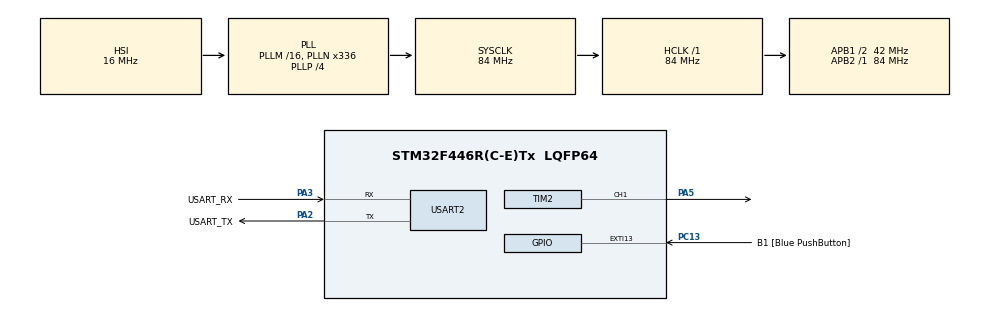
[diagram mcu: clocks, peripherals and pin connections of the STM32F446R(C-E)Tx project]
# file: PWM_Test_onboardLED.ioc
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Mcu.Family=STM32F4
Mcu.Name=STM32F446R(C-E)Tx
Mcu.Package=LQFP64
NVIC.PriorityGroup=NVIC_PRIORITYGROUP_0
NVIC.TIM2_IRQn=true\:0\:0\:false\:false\:true\:true\:true
NVIC.USART2_IRQn=true\:0\:0\:false\:false\:true\:true\:true
PA13.GPIO_Label=TMS
PA13.Mode=Serial_Wire
PA13.Signal=SYS_JTMS-SWDIO
PA14.GPIO_Label=TCK
PA14.Mode=Serial_Wire
PA14.Signal=SYS_JTCK-SWCLK
PA2.GPIO_Label=USART_TX
PA2.Mode=Asynchronous
PA2.Signal=USART2_TX
PA3.GPIO_Label=USART_RX
PA3.Mode=Asynchronous
PA3.Signal=USART2_RX
PA5.Signal=S_TIM2_CH1_ETR
PB3.GPIO_Label=SWO
PB3.Signal=SYS_JTDO-SWO
PC13.GPIO_Label=B1 [Blue PushButton]
PC13.GPIO_ModeDefaultEXTI=GPIO_MODE_IT_FALLING
PC13.Signal=GPXTI13
PC14-OSC32_IN.Signal=RCC_OSC32_IN
PC15-OSC32_OUT.Signal=RCC_OSC32_OUT
PH0-OSC_IN.Signal=RCC_OSC_IN
PH1-OSC_OUT.Signal=RCC_OSC_OUT
ProjectManager.HeapSize=0x200
ProjectManager.StackSize=0x400
ProjectManager.TargetToolchain=STM32CubeIDE
RCC.48MHZClocksFreq_Value=84000000
RCC.AHBFreq_Value=84000000
RCC.APB1CLKDivider=RCC_HCLK_DIV2
RCC.APB1Freq_Value=42000000
RCC.APB1TimFreq_Value=84000000
RCC.APB2Freq_Value=84000000
RCC.APB2TimFreq_Value=84000000
RCC.CortexFreq_Value=84000000
RCC.FLatency-AdvancedSettings=FLASH_LATENCY_2
RCC.HCLKFreq_Value=84000000
RCC.HSE_VALUE=8000000
RCC.HSI_VALUE=16000000
RCC.PLLN=336
RCC.PLLP=RCC_PLLP_DIV4
RCC.SYSCLKFreq_VALUE=84000000
RCC.SYSCLKSource=RCC_SYSCLKSOURCE_PLLCLK
RCC.USBFreq_Value=168000000
RCC.VCOOutputFreq_Value=336000000
SH.S_TIM2_CH1_ETR.0=TIM2_CH1,PWM Generation1 CH1
TIM2.Channel-PWM\ Generation1\ CH1=TIM_CHANNEL_1
TIM2.Period=999
TIM2.Prescaler=83
TIM2.Pulse-PWM\ Generation1\ CH1=100
USART2.VirtualMode=VM_ASYNC
VP_TIM2_VS_ClockSourceINT.Mode=Internal
board=NUCLEO-F446RE

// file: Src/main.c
/* USER CODE BEGIN Header */
/**
  ******************************************************************************
  * @file           : main.c
  * @brief          : Main program body
  ******************************************************************************
  * @attention
  *
  * <h2><center>&copy; Copyright (c) 2020 STMicroelectronics.
  * All rights reserved.</center></h2>
  *
  * This software component is licensed by ST under BSD 3-Clause license,
  * the "License"; You may not use this file except in compliance with the
  * License. You may obtain a copy of the License at:
  *                        opensource.org/licenses/BSD-3-Clause
  *
  ******************************************************************************
  */
/* USER CODE END Header */

#include "main.h"
#include "tim.h"
#include "usart.h"
#include "gpio.h"
#include <stdbool.h>

void SystemClock_Config(void);

/* USER CODE BEGIN 0 */
uint8_t myTxData[13]= "LED DIMMING\r\n";
uint8_t myRxData[11];
uint8_t serialFlag;
/* USER CODE END 0 */

int main(void)
{
  /* USER CODE BEGIN 1 */
	uint8_t mode=1;
	uint32_t ledpwmval=0;
	bool flag=true;
  /* USER CODE END 1 */

  /* MCU Configuration--------------------------------------------------------*/

  /* Reset of all peripherals, Initializes the Flash interface and the Systick. */
  HAL_Init();

  /* Configure the system clock */
  SystemClock_Config();

  /* Initialize all configured peripherals */
  MX_GPIO_Init();
  MX_TIM2_Init();
  MX_USART2_UART_Init();
  MX_DMA_Init();
  /* USER CODE BEGIN 2 */
  HAL_TIM_PWM_Start(&htim2,TIM_CHANNEL_1);
  HAL_UART_Receive_IT(&huart2, myRxData, 11);
  /* USER CODE END 2 */

  /* Infinite loop */
  /* USER CODE BEGIN WHILE */
  while (1)
     {

	  if (serialFlag)
	  {
		  serialFlag = 0;
		  HAL_UART_Transmit(&huart2, myTxData, 13, 10);
		  HAL_UART_Receive_IT(&huart2, myRxData, 11);
	  }
	  //HAL_UART_Transmit(&huart2, myTxData, 13, 10);
       /* USER CODE END WHILE */
	  if(HAL_GPIO_ReadPin(GPIOC, GPIO_PIN_13)==GPIO_PIN_SET && flag)
	  {
		  flag=false;
		 // State=HAL_GPIO_ReadPin(GPIOA,GPIO_PIN_5);
		  if (mode==1)
		    		  ledpwmval=ledpwmval+50;
		  else
		    		  ledpwmval=ledpwmval-50;
	  }else if(HAL_GPIO_ReadPin(GPIOC, GPIO_PIN_13)==GPIO_PIN_RESET)
	  {
		 // State=HAL_GPIO_ReadPin(GPIOA,GPIO_PIN_5);
		  flag=true;
	  }
   	 /* if (mode)
   		  ledpwmval ++;
   	  else
   		  ledpwmval --;*/

   	  if (ledpwmval >=1000)
   		  mode=0;//led value get cleared and work at the OFF mode
   	  if (ledpwmval==0)
   		  mode=1;//
   	//  _HAL_TIM_COMPARE(&htim2,TIM_CHANNEL_1,ledpwmval);

   	  TIM2->CCR1 = ledpwmval;
   	  HAL_Delay(10);

     }

  /* USER CODE END 3 */
}

void SystemClock_Config(void)
{
  RCC_OscInitTypeDef RCC_OscInitStruct = {0};
  RCC_ClkInitTypeDef RCC_ClkInitStruct = {0};

  /** Configure the main internal regulator output voltage
  */
  __HAL_RCC_PWR_CLK_ENABLE();
  __HAL_PWR_VOLTAGESCALING_CONFIG(PWR_REGULATOR_VOLTAGE_SCALE3);
  /** Initializes the CPU, AHB and APB busses clocks
  */
  RCC_OscInitStruct.OscillatorType = RCC_OSCILLATORTYPE_HSI;
  RCC_OscInitStruct.HSIState = RCC_HSI_ON;
  RCC_OscInitStruct.HSICalibrationValue = RCC_HSICALIBRATION_DEFAULT;
  RCC_OscInitStruct.PLL.PLLState = RCC_PLL_ON;
  RCC_OscInitStruct.PLL.PLLSource = RCC_PLLSOURCE_HSI;
  RCC_OscInitStruct.PLL.PLLM = 16;
  RCC_OscInitStruct.PLL.PLLN = 336;
  RCC_OscInitStruct.PLL.PLLP = RCC_PLLP_DIV4;
  RCC_OscInitStruct.PLL.PLLQ = 2;
  RCC_OscInitStruct.PLL.PLLR = 2;
  if (HAL_RCC_OscConfig(&RCC_OscInitStruct) != HAL_OK)
  {
    Error_Handler();
  }
  /** Initializes the CPU, AHB and APB busses clocks
  */
  RCC_ClkInitStruct.ClockType = RCC_CLOCKTYPE_HCLK|RCC_CLOCKTYPE_SYSCLK
                              |RCC_CLOCKTYPE_PCLK1|RCC_CLOCKTYPE_PCLK2;
  RCC_ClkInitStruct.SYSCLKSource = RCC_SYSCLKSOURCE_PLLCLK;
  RCC_ClkInitStruct.AHBCLKDivider = RCC_SYSCLK_DIV1;
  RCC_ClkInitStruct.APB1CLKDivider = RCC_HCLK_DIV2;
  RCC_ClkInitStruct.APB2CLKDivider = RCC_HCLK_DIV1;

  if (HAL_RCC_ClockConfig(&RCC_ClkInitStruct, FLASH_LATENCY_2) != HAL_OK)
  {
    Error_Handler();
  }
}

/* USER CODE BEGIN 4 */
void HAL_UART_RxCpltCallback(UART_HandleTypeDef *huart)
{
  /* Prevent unused argument(s) compilation warning */
  UNUSED(huart);
  /* NOTE: This function should not be modified, when the callback is needed,
           the HAL_UART_RxCpltCallback could be implemented in the user file
   */
  serialFlag = 1;
}
/* USER CODE END 4 */

void Error_Handler(void)
{
}

/************************ (C) COPYRIGHT STMicroelectronics *****END OF FILE****/
